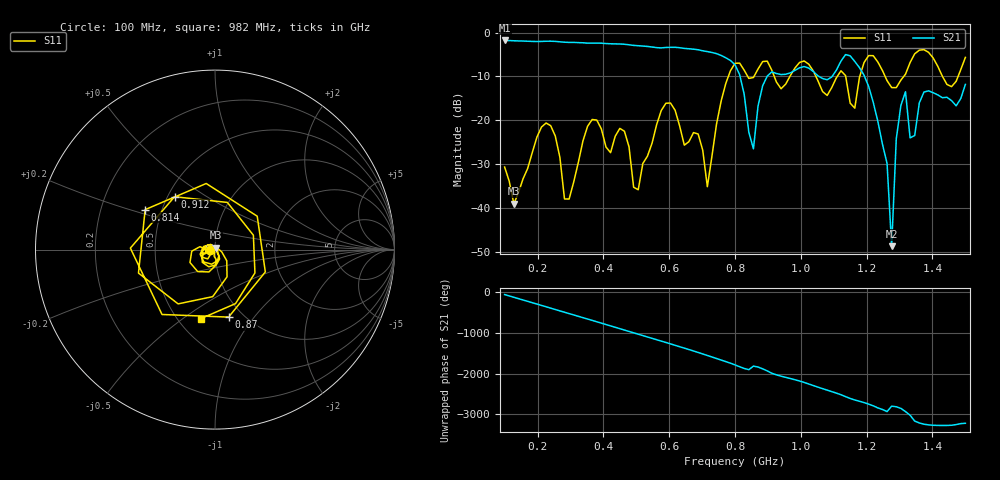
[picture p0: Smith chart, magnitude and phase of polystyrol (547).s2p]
! NanoVNA-App
! Date: 2025-09-25 15:34:08
! Start: 100MHz Stop: 1,5GHz Points: 101
! S-Parameter data: F S11 S21 S12 S22
# Hz S RI R 50
!  Frequency  S11_Real  S11_Imag  S21_Real  S21_Imag  S12_Real  S12_Imag  S22_Real  S22_Imag
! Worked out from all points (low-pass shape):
!   101 points, 100 MHz to 1.5 GHz, reference 50 ohm
!   highest |S21| = -1.80 dB at 100 MHz (marker M1); lowest = -48.8 dB at 1.276 GHz (marker M2)
!   |S21| within 3 dB of the highest: start of sweep to 743.3 MHz
!   lowest |S11| = -39.1 dB at 128 MHz (marker M3), VSWR 1.02, Z = 50.3 + j1.06 ohm
!   |S11| at or under -10 dB: start of sweep to 779.9 MHz; 1.046 GHz to 1.111 GHz (65.06 MHz wide, 6.03 % of centre); 1.256 GHz to 1.313 GHz (56.81 MHz wide, 4.42 % of centre) (the widest 3 of 7)
!   S12 and S22 are empty: the file has one direction only
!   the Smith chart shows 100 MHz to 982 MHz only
!   S11 on the Smith chart (normalised r, x): 100 MHz: 0.94, -0.01; 814 MHz: 0.40, +0.23; 870 MHz: 0.86, -0.76; 912 MHz: 0.54, +0.37; 982 MHz: 0.64, -0.59
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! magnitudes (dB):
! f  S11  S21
! 100 MHz  -30.7  -1.8
! 128 MHz  -39.1  -1.9
! 212 MHz  -21.6  -2.0
! 282 MHz  -38.0  -2.2
! 338 MHz  -24.8  -2.3
! 506 MHz  -35.9  -3.0
! 576 MHz  -17.8  -3.5
! 716 MHz  -35.2  -4.3
! 800 MHz  -7.0  -7.3
! 814 MHz  -7.0  -9.6
! 856 MHz  -10.3  -26.5
! 870 MHz  -8.3  -16.8
! 912 MHz  -8.6  -9.0
! 982 MHz  -8.1  -8.6
! 1.038 GHz  -8.8  -8.9
! 1.192 GHz  -6.8  -9.7
! 1.262 GHz  -11.0  -29.9
! 1.276 GHz  -12.6  -48.8
! 1.29 GHz  -12.6  -24.3
! 1.318 GHz  -9.5  -13.5
! 1.332 GHz  -6.8  -24.1
! 1.5 GHz  -5.7  -11.8
